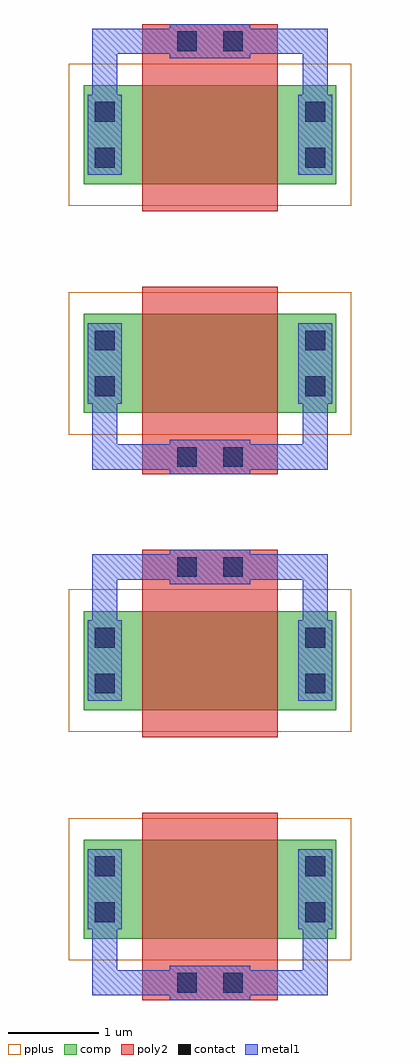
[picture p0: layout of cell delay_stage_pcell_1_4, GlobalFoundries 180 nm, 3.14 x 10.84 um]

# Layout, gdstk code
import gdstk
lib = gdstk.Library(unit=1e-6, precision=5e-09)
def R(c, l, rs):  # rectangles x0, y0, x1, y1
    for r in rs: c.add(gdstk.rectangle(r[:2], r[2:], *l))
comp = (22, 0)
poly2 = (30, 0)
pplus = (31, 0)
contact = (33, 0)
metal1 = (34, 0)

delay_stage_pcell_1_1 = lib.new_cell('delay_stage_pcell_1$1')
R(delay_stage_pcell_1_1, comp, [(0.17,0.3,0.63,1.4), (0.63,0.3,2.51,1.4), (2.51,0.3,2.97,1.4)])
R(delay_stage_pcell_1_1, poly2, [(0.82,0,2.32,1.7)])
R(delay_stage_pcell_1_1, pplus, [(0,0.06,3.14,1.64)])
R(delay_stage_pcell_1_1, contact, [(0.29,0.485,0.51,0.705), (2.63,0.485,2.85,0.705), (0.29,0.995,0.51,1.215), (2.63,0.995,2.85,1.215)])
R(delay_stage_pcell_1_1, metal1, [(0.21,0.405,0.59,1.295), (2.55,0.405,2.93,1.295)])

delay_stage_pcell_1_4 = lib.new_cell('delay_stage_pcell_1_4')
R(delay_stage_pcell_1_4, poly2, [(0.82,0,2.32,0.38), (0.82,4.62,2.32,5), (0.82,5.84,2.32,6.22), (0.82,10.46,2.32,10.84)])
R(delay_stage_pcell_1_4, contact, [(1.205,0.08,1.425,0.3), (1.715,0.08,1.935,0.3), (1.205,4.7,1.425,4.92), (1.715,4.7,1.935,4.92), (1.205,5.92,1.425,6.14), (1.715,5.92,1.935,6.14), (1.205,10.54,1.425,10.76), (1.715,10.54,1.935,10.76)])
R(delay_stage_pcell_1_4, metal1, [(1.125,0,2.015,0.38), (1.125,4.62,2.015,5), (1.125,5.84,2.015,6.22), (1.125,10.46,2.015,10.84)])
delay_stage_pcell_1_4.add(gdstk.FlexPath([(2.74,10.055),(2.74,10.65),(0.4,10.65),(0.4,10.055)], 0.28, ends="flush", simple_path=True, layer=34, datatype=0))  # metal1
delay_stage_pcell_1_4.add(gdstk.FlexPath([(2.74,0.785),(2.74,0.19),(0.4,0.19),(0.4,0.785)], 0.28, ends="flush", simple_path=True, layer=34, datatype=0))  # metal1
delay_stage_pcell_1_4.add(gdstk.FlexPath([(2.74,6.625),(2.74,6.03),(0.4,6.03),(0.4,6.625)], 0.28, ends="flush", simple_path=True, layer=34, datatype=0))  # metal1
delay_stage_pcell_1_4.add(gdstk.FlexPath([(2.74,4.215),(2.74,4.81),(0.4,4.81),(0.4,4.215)], 0.28, ends="flush", simple_path=True, layer=34, datatype=0))  # metal1
delay_stage_pcell_1_4.add(gdstk.Reference(delay_stage_pcell_1_1, (0,2.08), x_reflection=True))
delay_stage_pcell_1_4.add(gdstk.Reference(delay_stage_pcell_1_1, (0,7.92), x_reflection=True))
delay_stage_pcell_1_4.add(gdstk.Reference(delay_stage_pcell_1_1, (0,8.76)))
delay_stage_pcell_1_4.add(gdstk.Reference(delay_stage_pcell_1_1, (0,2.92)))

lib.write_gds('delay_stage_pcell_1_4.gds')
